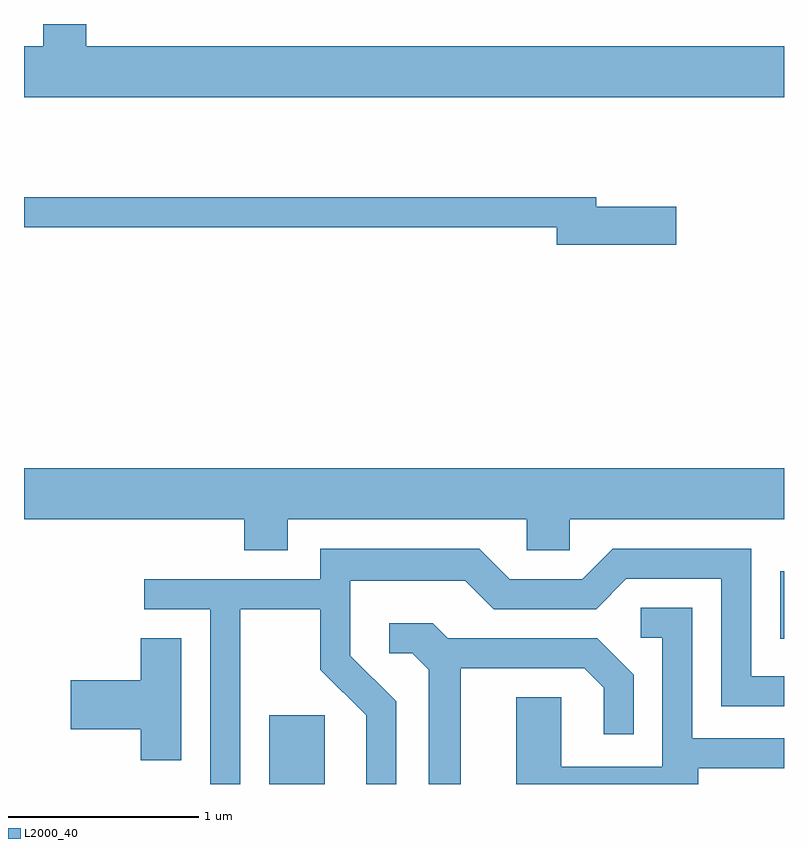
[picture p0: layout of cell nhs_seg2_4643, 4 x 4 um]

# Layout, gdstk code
import gdstk
lib = gdstk.Library(unit=1e-6, precision=1e-09)
def R(c, l, rs):  # rectangles x0, y0, x1, y1
    for r in rs: c.add(gdstk.rectangle(r[:2], r[2:], *l))
def P(c, l, *ps):  # polygons
    for p in ps: c.add(gdstk.Polygon(p, *l))
L2000_40 = (2000, 40)

nhs_seg2_4643 = lib.new_cell('nhs_seg2_4643')
R(nhs_seg2_4643, L2000_40, [(322.901,1055.802,323.194,1056.164), (325.591,1056.566,325.611,1056.923)])
P(nhs_seg2_4643, L2000_40, [(325.611,1059.684),(321.939,1059.684),(321.939,1059.802),(321.711,1059.802),(321.711,1059.684),(321.611,1059.684),(321.611,1059.416),(325.611,1059.416)],
  [(325.044,1058.839),(324.624,1058.839),(324.624,1058.889),(321.611,1058.889),(321.611,1058.731),(324.416,1058.731),(324.416,1058.641),(325.044,1058.641)],
  [(322.999,1057.196),(324.256,1057.196),(324.256,1057.031),(324.484,1057.031),(324.484,1057.196),(325.611,1057.196),(325.611,1057.464),(321.611,1057.464),(321.611,1057.196),(322.771,1057.196),(322.771,1057.031),(322.999,1057.031)],
  [(322.749,1056.721),(323.171,1056.721),(323.171,1056.404),(323.411,1056.164),(323.411,1055.802),(323.569,1055.802),(323.569,1056.237),(323.329,1056.477),(323.329,1056.871),(323.934,1056.871),(324.084,1056.721),(324.622,1056.721),(324.782,1056.881),(325.281,1056.881),(325.281,1056.211),(325.611,1056.211),(325.611,1056.369),(325.439,1056.369),(325.439,1057.039),(324.709,1057.039),(324.549,1056.879),(324.167,1056.879),(324.007,1057.039),(323.171,1057.039),(323.171,1056.879),(322.243,1056.879),(322.243,1056.721),(322.591,1056.721),(322.591,1055.802),(322.749,1055.802)],
  [(325.159,1055.886),(325.611,1055.886),(325.611,1056.044),(325.129,1056.044),(325.129,1056.729),(324.858,1056.729),(324.858,1056.571),(324.971,1056.571),(324.971,1055.894),(324.439,1055.894),(324.439,1056.259),(324.201,1056.259),(324.201,1055.802),(325.159,1055.802)],
  [(323.909,1056.411),(324.559,1056.411),(324.661,1056.309),(324.661,1056.063),(324.819,1056.063),(324.819,1056.377),(324.627,1056.569),(323.842,1056.569),(323.762,1056.649),(323.533,1056.649),(323.533,1056.491),(323.654,1056.491),(323.741,1056.404),(323.741,1055.802),(323.909,1055.802)],
  [(322.439,1056.569),(322.226,1056.569),(322.226,1056.349),(321.856,1056.349),(321.856,1056.091),(322.226,1056.091),(322.226,1055.926),(322.439,1055.926)])

lib.write_gds('nhs_seg2_4643.gds')
